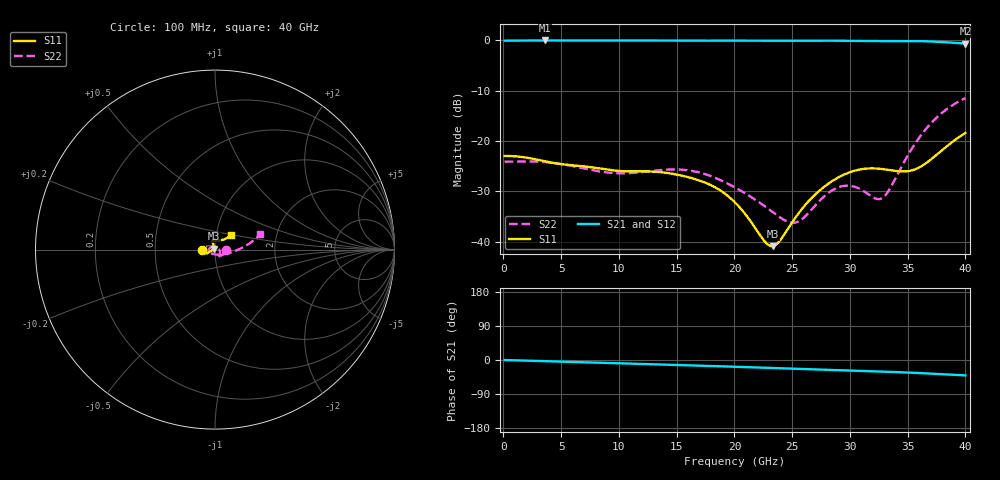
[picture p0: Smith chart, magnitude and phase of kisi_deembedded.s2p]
! X_s8x2_L1L3_bd_d200: kisi-fdtd, de-embedded with the 2×thru
# Hz S RI R 50
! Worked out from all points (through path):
!   400 points, 100 MHz to 40 GHz, reference 50 ohm
!   highest |S21| = -0.02 dB at 3.6 GHz (marker M1); lowest = -0.6 dB at 40 GHz (marker M2)
!   group delay of S21, straight-line fit = 2.71 ps
!   lowest |S11| = -40.9 dB at 23.3 GHz (marker M3), VSWR 1.02, Z = 49.2 + j0.452 ohm
!   |S11| at or under -10 dB: start of sweep to end of sweep
!   |S22| runs from -36.3 to -11.5 dB; largest |S21 - S12| = 0.011
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1e8  -0.0711 -0.000204  0.9925 -0.00131  1 -0.00179  0.0623 -0.000103
3.6e9  -0.0623 -0.00866  0.9959 -0.0545  0.9918 -0.0589  0.0612 -0.00776
6.8e9  -0.0531 -0.0186  0.9887 -0.1025  0.9873 -0.0987  0.0498 -0.0204
9.9e9  -0.0458 -0.0214  0.9858 -0.1471  0.9885 -0.1474  0.034 -0.0336
1.34e10  -0.0444 -0.0214  0.9726 -0.204  0.9712 -0.2055  0.0223 -0.0461
1.75e10  -0.0354 -0.0151  0.9572 -0.2628  0.9576 -0.2613  0.0244 -0.0399
2.01e10  -0.0229 -0.00785  0.9457 -0.3047  0.9471 -0.3052  0.0283 -0.0194
2.26e10  -0.01 0.00134  0.9287 -0.3425  0.9282 -0.3439  0.0224 0.00278
2.33e10  -0.00777 0.0046  0.9243 -0.3524  0.9232 -0.3535  0.0181 0.00779
2.39e10  -0.00646 0.00777  0.9209 -0.3611  0.9194 -0.3616  0.0135 0.0112
2.51e10  -0.00559 0.0152  0.9146 -0.3792  0.9131 -0.3786  0.00211 0.0153
2.58e10  -0.00608 0.0199  0.911 -0.3906  0.9098 -0.3894  -0.00553 0.0156
2.67e10  -0.00764 0.0262  0.9056 -0.4061  0.9053 -0.4044  -0.0157 0.0139
2.8e10  -0.0113 0.0349  0.8954 -0.4293  0.8966 -0.4276  -0.0286 0.00796
2.92e10  -0.015 0.0421  0.8831 -0.4497  0.8853 -0.4493  -0.0353 -0.000309
3.05e10  -0.0173 0.0479  0.8685 -0.4695  0.8705 -0.471  -0.033 -0.011
3.24e10  -0.0142 0.0513  0.8496 -0.4956  0.8487 -0.4986  -0.00794 -0.0253
3.34e10  -0.00854 0.0508  0.8413 -0.5103  0.8384 -0.5125  0.0159 -0.0285
3.52e10  0.00966 0.0496  0.8229 -0.5412  0.8187 -0.539  0.0757 -0.0198
3.66e10  0.0309 0.0518  0.7983 -0.5658  0.7971 -0.56  0.1323 0.00132
3.82e10  0.0595 0.0607  0.7574 -0.5878  0.7629 -0.5824  0.1962 0.037
4e10  0.0878 0.0826  0.705 -0.6057  0.7153 -0.6094  0.2527 0.0854
